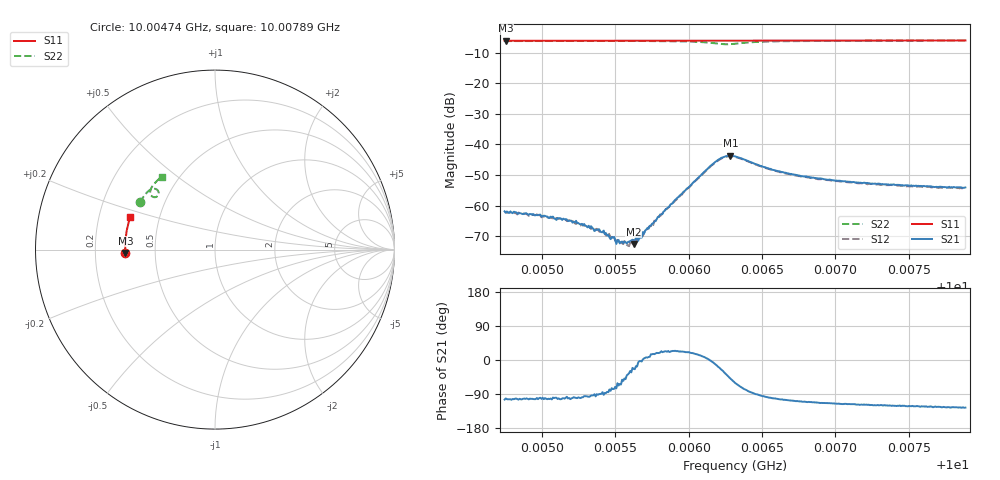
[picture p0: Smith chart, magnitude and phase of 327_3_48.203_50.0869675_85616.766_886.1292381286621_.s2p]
#  HZ  S  RI  R  50.00
! Rohde & Schwarz Vector Network Analyzer
! Rohde-Schwarz,ZNB20-2Port,1311601062101988,3.16
! Created: UTC 3/20/2024, 11:50:44 AM
! freq[Hz]  re:S11  im:S11  re:S21  im:S21  re:S12  im:S12  re:S22  im:S22
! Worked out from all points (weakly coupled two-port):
!   401 points, 10.00474 GHz to 10.00789 GHz, reference 50 ohm
!   highest |S21| = -43.70 dB at 10.00628 GHz (marker M1); lowest = -72.6 dB at 10.00562 GHz (marker M2)
!   lowest |S11| = -6.0 dB at 10.00475 GHz (marker M3), VSWR 2.99, Z = 16.7 - j0.808 ohm
!   |S11| at or under -10 dB: nowhere
!   |S22| runs from -7.2 to -6.0 dB; largest |S21 - S12| = 0.00038
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1.0004745e10  -0.4988 -0.0187  -0.000201 -0.00078  -0.000128 -0.000749  -0.4179 0.263
1.0004753e10  -0.4987 -0.0182  -0.000151 -0.000751  -0.000142 -0.000767  -0.4175 0.2633
1.0004855e10  -0.4992 -0.0116  -0.000176 -0.000725  -0.000139 -0.000733  -0.4142 0.2691
1.0005114e10  -0.4998 0.00537  -0.000119 -0.000602  -7.89e-05 -0.000603  -0.4047 0.2848
1.0005271e10  -0.4999 0.0155  -7.37e-05 -0.000494  -5.88e-05 -0.000499  -0.3984 0.294
1.0005357e10  -0.4999 0.021  -2.05e-06 -0.000382  -1.96e-06 -0.000413  -0.3947 0.2993
1.0005404e10  -0.4998 0.0242  3.69e-06 -0.000366  3.71e-05 -0.000353  -0.3926 0.3021
1.0005467e10  -0.4997 0.0282  4.29e-05 -0.000279  8.76e-05 -0.00029  -0.3897 0.3061
1.0005522e10  -0.4997 0.0317  0.000105 -0.000251  0.0001 -0.000232  -0.3869 0.3093
1.0005585e10  -0.4995 0.0359  0.000199 -0.000156  0.000172 -0.000139  -0.3837 0.3132
1.0005624e10  -0.4994 0.0384  0.000215 -9.3e-05  0.000255 -9.91e-05  -0.3816 0.3156
1.0005664e10  -0.4994 0.0411  0.000312 -1.57e-05  0.000287 -1.17e-05  -0.3792 0.3181
1.0005797e10  -0.4987 0.0497  0.000616 0.000205  0.000619 0.000259  -0.3705 0.3268
1.0006159e10  -0.4962 0.0729  0.00464 -0.000373  0.00458 -0.000147  -0.3191 0.33
1.0006229e10  -0.4956 0.0774  0.00543 -0.00283  0.00542 -0.00254  -0.3146 0.3081
1.0006284e10  -0.4951 0.0804  0.00429 -0.00493  0.00444 -0.00464  -0.3275 0.2935
1.0006316e10  -0.4949 0.0824  0.00318 -0.00554  0.00341 -0.00525  -0.3379 0.2919
1.0006591e10  -0.4926 0.1  -0.000753 -0.00367  -0.000605 -0.00364  -0.3596 0.3314
1.0006842e10  -0.4897 0.116  -0.00104 -0.00266  -0.000899 -0.00265  -0.3488 0.3533
1.0007148e10  -0.4855 0.1353  -0.0011 -0.00209  -0.000962 -0.00212  -0.3338 0.3719
1.0007368e10  -0.4819 0.149  -0.00109 -0.00189  -0.001 -0.00191  -0.3228 0.3833
1.0007887e10  -0.4719 0.1809  -0.00115 -0.00161  -0.00101 -0.00163  -0.2965 0.4071
